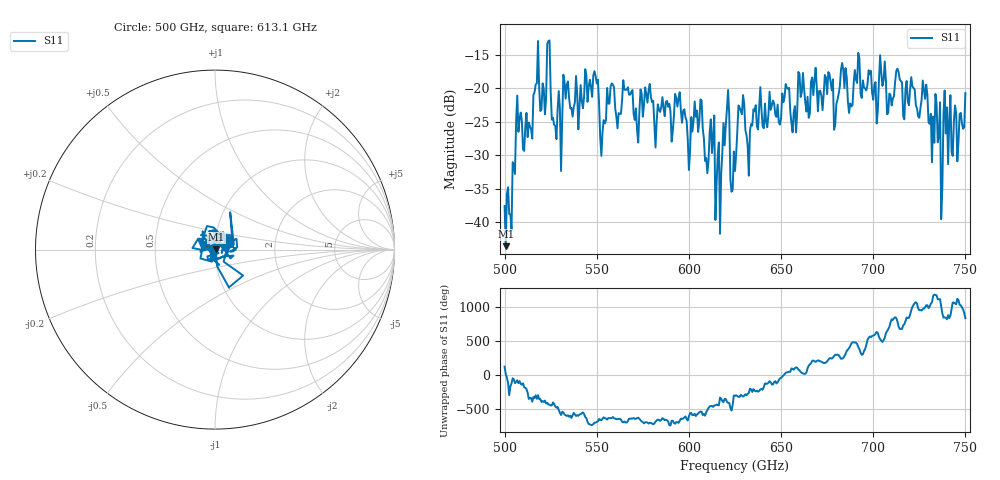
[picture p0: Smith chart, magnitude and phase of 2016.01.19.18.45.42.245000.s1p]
!Created with skrf (http://scikit-rf.org).
# GHz S RI R 50.0
!freq ReS11 ImS11
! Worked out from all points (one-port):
!   401 points, 500 GHz to 750 GHz, reference 50 ohm
!   lowest |S11| = -43.6 dB at 500.6 GHz (marker M1), VSWR 1.01, Z = 50.6 + j0.157 ohm
!   |S11| at or under -10 dB: start of sweep to end of sweep
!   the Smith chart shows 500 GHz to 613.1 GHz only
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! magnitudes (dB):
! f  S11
! 500 GHz  -37.6
! 500.6 GHz  -43.6
! 507.5 GHz  -26.5
! 513.8 GHz  -25.7
! 516.9 GHz  -19.5
! 531.2 GHz  -24.8
! 549.4 GHz  -18.2
! 553.1 GHz  -26.5
! 558.1 GHz  -19.3
! 562.5 GHz  -23.9
! 593.8 GHz  -22.8
! 609.4 GHz  -30.4
! 612.5 GHz  -29.7
! 615.6 GHz  -30.0
! 620 GHz  -25.5
! 625 GHz  -32.4
! 628.1 GHz  -23.4
! 631.9 GHz  -28.6
! 656.2 GHz  -26.6
! 660.6 GHz  -21.3
! 680 GHz  -22.4
! 683.8 GHz  -17.2
! 687.5 GHz  -22.3
! 691.2 GHz  -19.2
! 718.8 GHz  -22.0
! 728.1 GHz  -21.6
! 736.2 GHz  -22.1
! 750 GHz  -20.7
